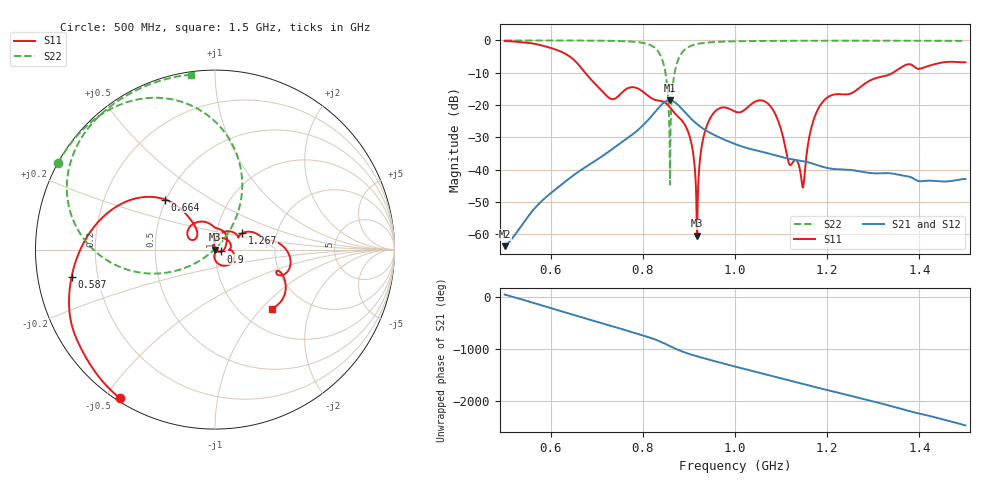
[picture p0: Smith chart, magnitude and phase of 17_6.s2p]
! TOUCHSTONE file generated by CST MICROWAVE STUDIO
! Date and time: Fri Oct  2 18:56:54 2020
! Project name: Scenario_1_Free_Space_out_of_line.cst
! Parameters = {Lambda=346.42; Step_1=17.321; dy1=70.184; dx1=1039; L_HA=400; MT=2.54; Rad_Dielectric=30; Rad_Lower=7.3; Rad_Upper=30; a_HA=580; a_WG=246; b_HA=500; b_WG=121; c_HA=0; c_WG=187; d_feed=85; h_feed=15; h_lower=18; h_upper=40}
! Header version: 2018
! Port assignment regex: !\s*Touchstone port\s*([0-9]+)\s*=\s*(CST MWS port|CST DS port)\s*([0-9]+|Zmin|Zmax)\s*\(\"(.*)\"\)(\s*mode\s*([0-9]+))?.*
! Touchstone port assignment:
! Touchstone port 1 = CST MWS port 1 ("")
! Touchstone port 2 = CST MWS port 2 ("")
# GHz S DB R 50
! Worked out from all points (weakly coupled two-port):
!   1003 points, 500 MHz to 1.5 GHz, reference 50 ohm
!   highest |S21| = -18.48 dB at 858 MHz (marker M1); lowest = -63.7 dB at 500 MHz (marker M2)
!   lowest |S11| = -60.4 dB at 918 MHz (marker M3), VSWR 1.00, Z = 49.9 + j0.051 ohm
!   |S11| at or under -10 dB: 674.9 MHz to 1.343 GHz (667.8 MHz wide, 66.2 % of centre)
!   |S22| runs from -44.6 to 0.0 dB; largest |S21 - S12| = 1.9e-05
!   S11 on the Smith chart (normalised r, x): 500 MHz: 0.01, -0.55; 587 MHz: 0.10, -0.09; 664 MHz: 0.49, +0.33; 900 MHz: 1.07, -0.02; 1.267 GHz: 1.33, +0.25; 1.5 GHz: 1.37, -1.15
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0.5  -0.15 -122.5  -63.65 46.1  -63.65 46.1  -0.01 151.1
0.587  -1.79 -169.2  -48.85 179.7  -48.85 179.7  -0.02 145.1
0.664  -8.09 134.9  -40.27 -24.6  -40.27 -24.6  -0.04 138.6
0.667  -8.61 133.4  -39.98 -32.6  -39.98 -32.6  -0.04 138.3
0.73  -18.04 143.1  -33.98 164.9  -33.97 164.9  -0.13 130.7
0.778  -14.46 135.0  -29.04 37.7  -29.04 37.7  -0.38 120.9
0.834  -18.60 81.3  -20.86 -126.7  -20.86 -126.7  -3.56 85.9
0.848  -19.23 61.6  -18.95 178.4  -18.95 178.4  -9.17 64.5
0.858  -20.55 45.3  -18.48 135.4  -18.48 135.4  -30.97 50.6
0.874  -23.23 25.7  -19.64 68.9  -19.64 68.9  -7.06 -163.4
0.9  -28.96 -16.7  -23.55 -17.5  -23.55 -17.5  -1.96 169.2
0.918  -60.40 147.7  -25.93 -66.0  -25.93 -66.0  -1.09 159.2
0.929  -31.73 106.8  -27.11 -93.6  -27.11 -93.6  -0.83 155.0
0.944  -24.66 76.6  -28.42 -130.2  -28.42 -130.2  -0.60 150.6
1  -22.01 -1.3  -32.04 97.6  -32.04 97.6  -0.27 140.3
1.073  -19.75 -60.9  -34.99 -69.4  -34.99 -69.4  -0.14 132.2
1.146  -44.88 17.7  -37.30 125.8  -37.30 125.8  -0.10 125.9
1.167  -26.30 93.2  -38.03 77.0  -38.03 77.0  -0.10 124.2
1.199  -17.82 52.7  -39.42 7.2  -39.42 7.2  -0.09 121.7
1.267  -14.99 31.1  -40.40 -143.1  -40.40 -143.1  -0.09 116.5
1.334  -10.62 10.1  -41.08 65.9  -41.08 66.0  -0.09 111.5
1.5  -6.77 -46.3  -42.85 41.3  -42.85 41.3  -0.14 97.9
